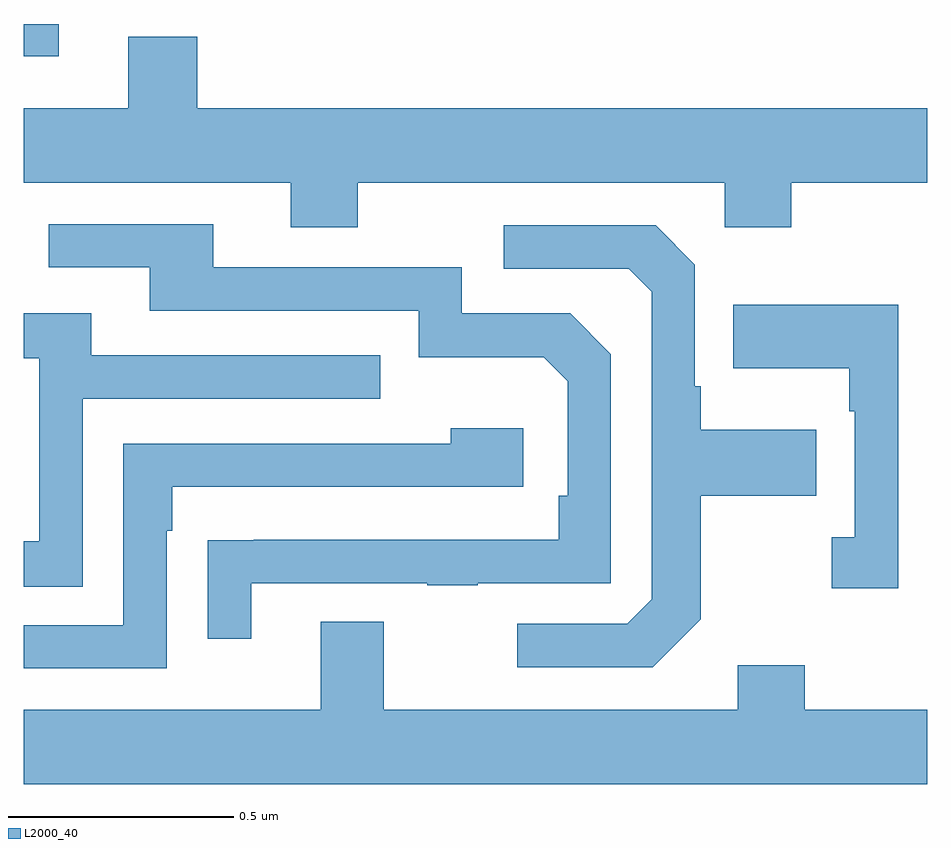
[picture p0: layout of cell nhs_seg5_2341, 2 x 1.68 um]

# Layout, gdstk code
import gdstk
lib = gdstk.Library(unit=1e-6, precision=1e-09)
def R(c, l, rs):  # rectangles x0, y0, x1, y1
    for r in rs: c.add(gdstk.rectangle(r[:2], r[2:], *l))
def P(c, l, *ps):  # polygons
    for p in ps: c.add(gdstk.Polygon(p, *l))
L2000_40 = (2000, 40)

nhs_seg5_2341 = lib.new_cell('nhs_seg5_2341')
R(nhs_seg5_2341, L2000_40, [(143,835.728,143.077,835.799)])
P(nhs_seg5_2341, L2000_40, [(143.739,835.448),(144.552,835.448),(144.552,835.349),(144.699,835.349),(144.699,835.448),(145,835.448),(145,835.612),(143.384,835.612),(143.384,835.771),(143.231,835.771),(143.231,835.612),(143,835.612),(143,835.448),(143.591,835.448),(143.591,835.349),(143.739,835.349)],
  [(143.503,834.561),(143.893,834.561),(143.893,834.556),(144.005,834.556),(144.005,834.561),(144.3,834.561),(144.3,835.068),(144.21,835.158),(143.97,835.158),(143.97,835.26),(143.419,835.26),(143.419,835.356),(143.055,835.356),(143.055,835.26),(143.279,835.26),(143.279,835.164),(143.874,835.164),(143.874,835.061),(144.151,835.061),(144.204,835.008),(144.204,834.754),(144.184,834.754),(144.184,834.657),(143.509,834.657),(143.509,834.656),(143.407,834.656),(143.407,834.438),(143.503,834.438)],
  [(144.499,834.481),(144.499,834.754),(144.755,834.754),(144.755,834.901),(144.499,834.901),(144.499,834.997),(144.486,834.997),(144.486,835.266),(144.399,835.353),(144.063,835.353),(144.063,835.257),(144.339,835.257),(144.39,835.206),(144.39,834.525),(144.336,834.471),(144.093,834.471),(144.093,834.375),(144.393,834.375)],
  [(144.936,835.177),(144.571,835.177),(144.571,835.037),(144.828,835.037),(144.828,834.941),(144.84,834.941),(144.84,834.662),(144.789,834.662),(144.789,834.549),(144.936,834.549)],
  [(143.13,834.969),(143.789,834.969),(143.789,835.065),(143.149,835.065),(143.149,835.159),(143,835.159),(143,835.059),(143.034,835.059),(143.034,834.654),(143,834.654),(143,834.553),(143.13,834.553)],
  [(143.316,834.677),(143.329,834.677),(143.329,834.774),(144.106,834.774),(144.106,834.904),(143.945,834.904),(143.945,834.87),(143.22,834.87),(143.22,834.468),(143,834.468),(143,834.372),(143.316,834.372)],
  [(145,834.28),(144.729,834.28),(144.729,834.379),(144.581,834.379),(144.581,834.28),(143.797,834.28),(143.797,834.475),(143.657,834.475),(143.657,834.28),(143,834.28),(143,834.116),(145,834.116)])

lib.write_gds('nhs_seg5_2341.gds')
